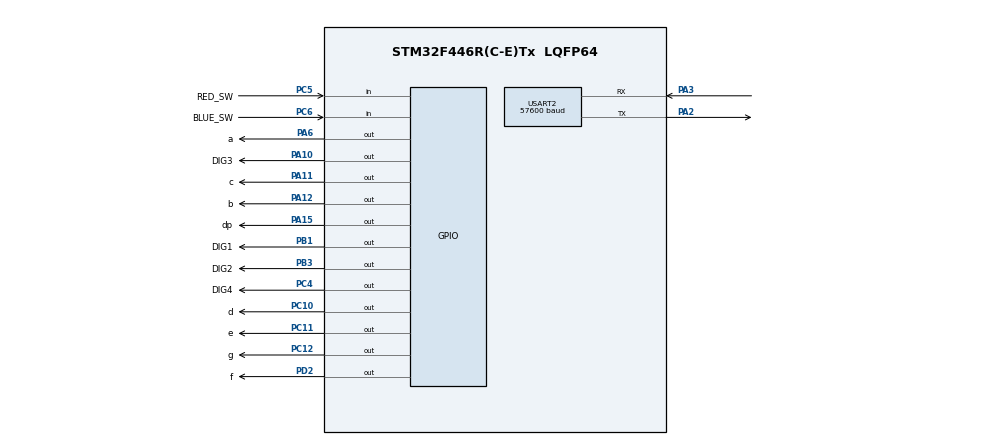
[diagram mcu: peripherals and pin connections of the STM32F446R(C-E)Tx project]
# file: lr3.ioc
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Mcu.Family=STM32F4
RCC.CortexFreq_Value=16000000
PC10.GPIO_Label=d
PC10.Signal=GPIO_Output
PC11.Signal=GPIO_Output
PC12.Signal=GPIO_Output
PC4.Signal=GPIO_Output
PC6.Signal=GPIO_Input
PC6.GPIO_Label=BLUE_SW
PA11.GPIO_Label=c
PA6.GPIO_Label=a
NVIC.USART2_IRQn=true\:0\:0\:false\:false\:true\:true\:true
USART2.BaudRate=57600
PA12.GPIO_Label=b
ProjectManager.StackSize=0x400
PA3.Mode=Asynchronous
PA15.GPIO_Label=dp
PA12.Signal=GPIO_Output
ProjectManager.TargetToolchain=STM32CubeIDE
RCC.USBFreq_Value=96000000
board=custom
RCC.VCOOutputFreq_Value=192000000
PC4.GPIO_Label=DIG4
PB1.GPIO_Label=DIG1
PC11.GPIO_Label=e
PA10.GPIO_Label=DIG3
Mcu.Name=STM32F446R(C-E)Tx
PA2.Signal=USART2_TX
PB3.Signal=GPIO_Output
Mcu.Package=LQFP64
PA6.Signal=GPIO_Output
PB1.Signal=GPIO_Output
PC5.GPIO_Label=RED_SW
USART2.VirtualMode=VM_ASYNC
PC12.GPIO_Label=g
PA11.Signal=GPIO_Output
PA10.Signal=GPIO_Output
PA15.Signal=GPIO_Output
ProjectManager.HeapSize=0x200
NVIC.PriorityGroup=NVIC_PRIORITYGROUP_4
PA2.Mode=Asynchronous
PC5.Signal=GPIO_Input
PD2.Signal=GPIO_Output
PD2.GPIO_Label=f
PA3.Signal=USART2_RX
PB3.GPIO_Label=DIG2

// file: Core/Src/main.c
/* USER CODE BEGIN Header */
/**
  ******************************************************************************
  * @file           : main.c
  * @brief          : Main program body
  ******************************************************************************
  * @attention
  *
  * <h2><center>&copy; Copyright (c) 2023 STMicroelectronics.
  * All rights reserved.</center></h2>
  *
  * This software component is licensed by ST under BSD 3-Clause license,
  * the "License"; You may not use this file except in compliance with the
  * License. You may obtain a copy of the License at:
  *                        opensource.org/licenses/BSD-3-Clause
  *
  ******************************************************************************
  */
/* USER CODE END Header */
#include "main.h"

UART_HandleTypeDef huart2;

/* USER CODE BEGIN PV */
int count = 0;
uint8_t rx_buff[6];
char trans_string [5];
int ans_from_com=0;
float sin_ans=0;

//static uint8_t *rx_buffer;
//static uint8_t *tx_buffer;
//
//static uint8_t current_number = 0;
//static uint8_t changed_number = 0;
//static const float e = 2.71828;

/* USER CODE END PV */

void SystemClock_Config(void);
static void MX_GPIO_Init(void);
static void MX_USART2_UART_Init(void);
/* USER CODE BEGIN PFP */

void setnumber (int number)
{
	switch (number)
	{
		case 0x2d:
				{
					//HAL_GPIO_WritePin(GPIOA, GPIO_PIN_14, GPIO_PIN_RESET); //dot
					HAL_GPIO_WritePin(GPIOC, GPIO_PIN_12, GPIO_PIN_SET); //A
					HAL_GPIO_WritePin(GPIOB, GPIO_PIN_3, GPIO_PIN_SET); //B
					HAL_GPIO_WritePin(GPIOD, GPIO_PIN_2, GPIO_PIN_SET); //C
					HAL_GPIO_WritePin(GPIOC, GPIO_PIN_11, GPIO_PIN_SET); //D
					HAL_GPIO_WritePin(GPIOA, GPIO_PIN_15, GPIO_PIN_SET); //E
					HAL_GPIO_WritePin(GPIOC, GPIO_PIN_10, GPIO_PIN_SET);	//F
					HAL_GPIO_WritePin(GPIOB, GPIO_PIN_4, GPIO_PIN_RESET);  //G
					break;
				}

		case 0:
			{
				//HAL_GPIO_WritePin(GPIOA, GPIO_PIN_14, GPIO_PIN_RESET); //dot
				HAL_GPIO_WritePin(GPIOA, a_Pin, GPIO_PIN_RESET); //A
				HAL_GPIO_WritePin(GPIOA, b_Pin, GPIO_PIN_RESET); //B
				HAL_GPIO_WritePin(GPIOA, c_Pin, GPIO_PIN_RESET); //C
				HAL_GPIO_WritePin(GPIOC, d_Pin, GPIO_PIN_RESET); //D
				HAL_GPIO_WritePin(GPIOC, e_Pin, GPIO_PIN_RESET); //E
				HAL_GPIO_WritePin(GPIOD, f_Pin, GPIO_PIN_RESET);	//F
				HAL_GPIO_WritePin(GPIOC, g_Pin, GPIO_PIN_SET);  //G
				HAL_GPIO_WritePin(GPIOA, dp_Pin, GPIO_PIN_SET);  //dp

				break;
			}

		case 1:
			{
				HAL_GPIO_WritePin(GPIOA, a_Pin, GPIO_PIN_SET); //A
				HAL_GPIO_WritePin(GPIOA, b_Pin, GPIO_PIN_RESET); //B
				HAL_GPIO_WritePin(GPIOA, c_Pin, GPIO_PIN_RESET); //C
				HAL_GPIO_WritePin(GPIOC, d_Pin, GPIO_PIN_SET); //D
				HAL_GPIO_WritePin(GPIOC, e_Pin, GPIO_PIN_SET); //E
				HAL_GPIO_WritePin(GPIOD, f_Pin, GPIO_PIN_SET);	//F
				HAL_GPIO_WritePin(GPIOC, g_Pin, GPIO_PIN_SET);  //G
				HAL_GPIO_WritePin(GPIOA, dp_Pin, GPIO_PIN_SET);  //dp

				break;
			}

		case 2:
			{
				HAL_GPIO_WritePin(GPIOA, a_Pin, GPIO_PIN_RESET); //A
				HAL_GPIO_WritePin(GPIOA, b_Pin, GPIO_PIN_RESET); //B
				HAL_GPIO_WritePin(GPIOA, c_Pin, GPIO_PIN_SET); //C
				HAL_GPIO_WritePin(GPIOC, d_Pin, GPIO_PIN_RESET); //D
				HAL_GPIO_WritePin(GPIOC, e_Pin, GPIO_PIN_RESET); //E
				HAL_GPIO_WritePin(GPIOD, f_Pin, GPIO_PIN_SET);	//F
				HAL_GPIO_WritePin(GPIOC, g_Pin, GPIO_PIN_RESET);  //G
				HAL_GPIO_WritePin(GPIOA, dp_Pin, GPIO_PIN_SET);  //dp

				break;
			}

		case 3:
			{
				HAL_GPIO_WritePin(GPIOA, a_Pin, GPIO_PIN_RESET); //A
				HAL_GPIO_WritePin(GPIOA, b_Pin, GPIO_PIN_RESET); //B
				HAL_GPIO_WritePin(GPIOA, c_Pin, GPIO_PIN_RESET); //C
				HAL_GPIO_WritePin(GPIOC, d_Pin, GPIO_PIN_RESET); //D
				HAL_GPIO_WritePin(GPIOC, e_Pin, GPIO_PIN_SET); //E
				HAL_GPIO_WritePin(GPIOD, f_Pin, GPIO_PIN_SET);	//F
				HAL_GPIO_WritePin(GPIOC, g_Pin, GPIO_PIN_RESET);  //G

				HAL_GPIO_WritePin(GPIOA, dp_Pin, GPIO_PIN_SET);  //dp

				break;
			}

		case 4:
			{
				HAL_GPIO_WritePin(GPIOA, a_Pin, GPIO_PIN_SET); //A
				HAL_GPIO_WritePin(GPIOA, b_Pin, GPIO_PIN_RESET); //B
				HAL_GPIO_WritePin(GPIOA, c_Pin, GPIO_PIN_RESET); //C
				HAL_GPIO_WritePin(GPIOC, d_Pin, GPIO_PIN_SET); //D
				HAL_GPIO_WritePin(GPIOC, e_Pin, GPIO_PIN_SET); //E
				HAL_GPIO_WritePin(GPIOD, f_Pin, GPIO_PIN_RESET);	//F
				HAL_GPIO_WritePin(GPIOC, g_Pin, GPIO_PIN_RESET);  //G
				HAL_GPIO_WritePin(GPIOA, dp_Pin, GPIO_PIN_SET);  //dp

				break;
			}

		case 5:
			{
				HAL_GPIO_WritePin(GPIOA, a_Pin, GPIO_PIN_RESET); //A
				HAL_GPIO_WritePin(GPIOA, b_Pin, GPIO_PIN_SET); //B
				HAL_GPIO_WritePin(GPIOA, c_Pin, GPIO_PIN_RESET); //C
				HAL_GPIO_WritePin(GPIOC, d_Pin, GPIO_PIN_RESET); //D
				HAL_GPIO_WritePin(GPIOC, e_Pin, GPIO_PIN_SET); //E
				HAL_GPIO_WritePin(GPIOD, f_Pin, GPIO_PIN_RESET);	//F
				HAL_GPIO_WritePin(GPIOC, g_Pin, GPIO_PIN_RESET);  //G
				HAL_GPIO_WritePin(GPIOA, dp_Pin, GPIO_PIN_SET);  //dp

				break;
			}

		case 6:
			{
				HAL_GPIO_WritePin(GPIOA, a_Pin, GPIO_PIN_RESET); //A
				HAL_GPIO_WritePin(GPIOA, b_Pin, GPIO_PIN_SET); //B
				HAL_GPIO_WritePin(GPIOA, c_Pin, GPIO_PIN_RESET); //C
				HAL_GPIO_WritePin(GPIOC, d_Pin, GPIO_PIN_RESET); //D
				HAL_GPIO_WritePin(GPIOC, e_Pin, GPIO_PIN_RESET); //E
				HAL_GPIO_WritePin(GPIOD, f_Pin, GPIO_PIN_RESET);	//F
				HAL_GPIO_WritePin(GPIOC, g_Pin, GPIO_PIN_RESET);  //G
				HAL_GPIO_WritePin(GPIOA, dp_Pin, GPIO_PIN_SET);  //dp

				break;
			}

		case 7:
			{
				HAL_GPIO_WritePin(GPIOA, a_Pin, GPIO_PIN_RESET); //A
				HAL_GPIO_WritePin(GPIOA, b_Pin, GPIO_PIN_RESET); //B
				HAL_GPIO_WritePin(GPIOA, c_Pin, GPIO_PIN_RESET); //C
				HAL_GPIO_WritePin(GPIOC, d_Pin, GPIO_PIN_SET); //D
				HAL_GPIO_WritePin(GPIOC, e_Pin, GPIO_PIN_SET); //E
				HAL_GPIO_WritePin(GPIOD, f_Pin, GPIO_PIN_SET);	//F
				HAL_GPIO_WritePin(GPIOC, g_Pin, GPIO_PIN_SET);  //G
				HAL_GPIO_WritePin(GPIOA, dp_Pin, GPIO_PIN_SET);  //dp

				break;
			}

		case 8:
			{
				HAL_GPIO_WritePin(GPIOA, a_Pin, GPIO_PIN_RESET); //A
				HAL_GPIO_WritePin(GPIOA, b_Pin, GPIO_PIN_RESET); //B
				HAL_GPIO_WritePin(GPIOA, c_Pin, GPIO_PIN_RESET); //C
				HAL_GPIO_WritePin(GPIOC, d_Pin, GPIO_PIN_RESET); //D
				HAL_GPIO_WritePin(GPIOC, e_Pin, GPIO_PIN_RESET); //E
				HAL_GPIO_WritePin(GPIOD, f_Pin, GPIO_PIN_RESET);	//F
				HAL_GPIO_WritePin(GPIOC, g_Pin, GPIO_PIN_RESET);  //G
				HAL_GPIO_WritePin(GPIOA, dp_Pin, GPIO_PIN_SET);  //dp

				break;
			}

		case 9:
			{
				HAL_GPIO_WritePin(GPIOA, a_Pin, GPIO_PIN_RESET); //A
				HAL_GPIO_WritePin(GPIOA, b_Pin, GPIO_PIN_RESET); //B
				HAL_GPIO_WritePin(GPIOA, c_Pin, GPIO_PIN_RESET); //C
				HAL_GPIO_WritePin(GPIOC, d_Pin, GPIO_PIN_RESET); //D
				HAL_GPIO_WritePin(GPIOC, e_Pin, GPIO_PIN_SET); //E
				HAL_GPIO_WritePin(GPIOD, f_Pin, GPIO_PIN_RESET);	//F
				HAL_GPIO_WritePin(GPIOC, g_Pin, GPIO_PIN_RESET);  //G
				HAL_GPIO_WritePin(GPIOA, dp_Pin, GPIO_PIN_SET);  //dp

				break;
			}
	}
}

void show_4dig_number(uint8_t count){

		HAL_GPIO_WritePin(GPIOB, DIG1_Pin, GPIO_PIN_SET);  //dp
		HAL_GPIO_WritePin(GPIOB, DIG2_Pin, GPIO_PIN_SET);  //dp
		HAL_GPIO_WritePin(GPIOA, DIG3_Pin, GPIO_PIN_SET);  //dp
		HAL_GPIO_WritePin(GPIOC, DIG4_Pin, GPIO_PIN_RESET);  //dp
		setnumber(count%10);
		HAL_Delay(1);

		HAL_GPIO_WritePin(GPIOB, DIG1_Pin, GPIO_PIN_SET);  //dp
		HAL_GPIO_WritePin(GPIOB, DIG2_Pin, GPIO_PIN_SET);  //dp
		HAL_GPIO_WritePin(GPIOA, DIG3_Pin, GPIO_PIN_RESET);  //dp
		HAL_GPIO_WritePin(GPIOC, DIG4_Pin, GPIO_PIN_SET);  //dp
		setnumber(count/10%10);
		HAL_Delay(1);

		HAL_GPIO_WritePin(GPIOB, DIG1_Pin, GPIO_PIN_SET);  //dp
		HAL_GPIO_WritePin(GPIOB, DIG2_Pin, GPIO_PIN_RESET);  //dp
		HAL_GPIO_WritePin(GPIOA, DIG3_Pin, GPIO_PIN_SET);  //dp
		HAL_GPIO_WritePin(GPIOC, DIG4_Pin, GPIO_PIN_SET);  //dp
		setnumber(count/100%10);
		HAL_Delay(1);

		HAL_GPIO_WritePin(GPIOB, DIG1_Pin, GPIO_PIN_RESET);  //dp
		HAL_GPIO_WritePin(GPIOB, DIG2_Pin, GPIO_PIN_SET);  //dp
		HAL_GPIO_WritePin(GPIOA, DIG3_Pin, GPIO_PIN_SET);  //dp
		HAL_GPIO_WritePin(GPIOC, DIG4_Pin, GPIO_PIN_SET);  //dp
		setnumber(count/1000%10);
		HAL_Delay(1);

}

/* USER CODE END PFP */

int main(void)
{
  /* USER CODE BEGIN 1 */
//	rx_buffer = (uint8_t*) malloc(sizeof(uint8_t)*8);
//	tx_buffer = (uint8_t*) malloc(sizeof(uint8_t)*8);
//	HAL_UART_Receive_IT(&huart2, rx_buffer, 4);
  /* USER CODE END 1 */

  /* MCU Configuration--------------------------------------------------------*/

  /* Reset of all peripherals, Initializes the Flash interface and the Systick. */
  HAL_Init();

  /* Configure the system clock */
  SystemClock_Config();

  /* Initialize all configured peripherals */
  MX_GPIO_Init();
  MX_USART2_UART_Init();

  /* Infinite loop */
  while (1)
  {
//	  show_4dig_number(changed_number);
//    /* USER CODE BEGIN 3 */
//	  free(rx_buffer);
//	  free(tx_buffer);

//	  show_4dig_number(5);

  /* USER CODE END 3 */
}
}

void SystemClock_Config(void)
{
  RCC_OscInitTypeDef RCC_OscInitStruct = {0};
  RCC_ClkInitTypeDef RCC_ClkInitStruct = {0};

  /** Configure the main internal regulator output voltage
  */
  __HAL_RCC_PWR_CLK_ENABLE();
  __HAL_PWR_VOLTAGESCALING_CONFIG(PWR_REGULATOR_VOLTAGE_SCALE3);
  /** Initializes the RCC Oscillators according to the specified parameters
  * in the RCC_OscInitTypeDef structure.
  */
  RCC_OscInitStruct.OscillatorType = RCC_OSCILLATORTYPE_HSI;
  RCC_OscInitStruct.HSIState = RCC_HSI_ON;
  RCC_OscInitStruct.HSICalibrationValue = RCC_HSICALIBRATION_DEFAULT;
  RCC_OscInitStruct.PLL.PLLState = RCC_PLL_NONE;
  if (HAL_RCC_OscConfig(&RCC_OscInitStruct) != HAL_OK)
  {
    Error_Handler();
  }
  /** Initializes the CPU, AHB and APB buses clocks
  */
  RCC_ClkInitStruct.ClockType = RCC_CLOCKTYPE_HCLK|RCC_CLOCKTYPE_SYSCLK
                              |RCC_CLOCKTYPE_PCLK1|RCC_CLOCKTYPE_PCLK2;
  RCC_ClkInitStruct.SYSCLKSource = RCC_SYSCLKSOURCE_HSI;
  RCC_ClkInitStruct.AHBCLKDivider = RCC_SYSCLK_DIV1;
  RCC_ClkInitStruct.APB1CLKDivider = RCC_HCLK_DIV1;
  RCC_ClkInitStruct.APB2CLKDivider = RCC_HCLK_DIV1;

  if (HAL_RCC_ClockConfig(&RCC_ClkInitStruct, FLASH_LATENCY_0) != HAL_OK)
  {
    Error_Handler();
  }
}

static void MX_USART2_UART_Init(void)
{

  huart2.Instance = USART2;
  huart2.Init.BaudRate = 57600;
  huart2.Init.WordLength = UART_WORDLENGTH_8B;
  huart2.Init.StopBits = UART_STOPBITS_1;
  huart2.Init.Parity = UART_PARITY_NONE;
  huart2.Init.Mode = UART_MODE_TX_RX;
  huart2.Init.HwFlowCtl = UART_HWCONTROL_NONE;
  huart2.Init.OverSampling = UART_OVERSAMPLING_16;
  if (HAL_UART_Init(&huart2) != HAL_OK)
  {
    Error_Handler();
  }

}

static void MX_GPIO_Init(void)
{
  GPIO_InitTypeDef GPIO_InitStruct = {0};

  /* GPIO Ports Clock Enable */
  __HAL_RCC_GPIOA_CLK_ENABLE();
  __HAL_RCC_GPIOC_CLK_ENABLE();
  __HAL_RCC_GPIOB_CLK_ENABLE();
  __HAL_RCC_GPIOD_CLK_ENABLE();

  /*Configure GPIO pin Output Level */
  HAL_GPIO_WritePin(GPIOA, a_Pin|DIG3_Pin|c_Pin|b_Pin
                          |dp_Pin, GPIO_PIN_RESET);

  /*Configure GPIO pin Output Level */
  HAL_GPIO_WritePin(GPIOC, DIG4_Pin|d_Pin|e_Pin|g_Pin, GPIO_PIN_RESET);

  /*Configure GPIO pin Output Level */
  HAL_GPIO_WritePin(GPIOB, DIG1_Pin|DIG2_Pin, GPIO_PIN_RESET);

  /*Configure GPIO pin Output Level */
  HAL_GPIO_WritePin(f_GPIO_Port, f_Pin, GPIO_PIN_RESET);

  /*Configure GPIO pins : a_Pin DIG3_Pin c_Pin b_Pin
                           dp_Pin */
  GPIO_InitStruct.Pin = a_Pin|DIG3_Pin|c_Pin|b_Pin
                          |dp_Pin;
  GPIO_InitStruct.Mode = GPIO_MODE_OUTPUT_PP;
  GPIO_InitStruct.Pull = GPIO_NOPULL;
  GPIO_InitStruct.Speed = GPIO_SPEED_FREQ_LOW;
  HAL_GPIO_Init(GPIOA, &GPIO_InitStruct);

  /*Configure GPIO pins : DIG4_Pin d_Pin e_Pin g_Pin */
  GPIO_InitStruct.Pin = DIG4_Pin|d_Pin|e_Pin|g_Pin;
  GPIO_InitStruct.Mode = GPIO_MODE_OUTPUT_PP;
  GPIO_InitStruct.Pull = GPIO_NOPULL;
  GPIO_InitStruct.Speed = GPIO_SPEED_FREQ_LOW;
  HAL_GPIO_Init(GPIOC, &GPIO_InitStruct);

  /*Configure GPIO pins : RED_SW_Pin BLUE_SW_Pin */
  GPIO_InitStruct.Pin = RED_SW_Pin|BLUE_SW_Pin;
  GPIO_InitStruct.Mode = GPIO_MODE_INPUT;
  GPIO_InitStruct.Pull = GPIO_NOPULL;
  HAL_GPIO_Init(GPIOC, &GPIO_InitStruct);

  /*Configure GPIO pins : DIG1_Pin DIG2_Pin */
  GPIO_InitStruct.Pin = DIG1_Pin|DIG2_Pin;
  GPIO_InitStruct.Mode = GPIO_MODE_OUTPUT_PP;
  GPIO_InitStruct.Pull = GPIO_NOPULL;
  GPIO_InitStruct.Speed = GPIO_SPEED_FREQ_LOW;
  HAL_GPIO_Init(GPIOB, &GPIO_InitStruct);

  /*Configure GPIO pin : f_Pin */
  GPIO_InitStruct.Pin = f_Pin;
  GPIO_InitStruct.Mode = GPIO_MODE_OUTPUT_PP;
  GPIO_InitStruct.Pull = GPIO_NOPULL;
  GPIO_InitStruct.Speed = GPIO_SPEED_FREQ_LOW;
  HAL_GPIO_Init(f_GPIO_Port, &GPIO_InitStruct);

}

/* USER CODE BEGIN 4 */

void HAL_UART_RxCpltCallback(UART_HandleTypeDef *huart){
//	rx_buff[6]='\0';
//	ans_from_com=atoi(&rx_buff[1]);
//	sin_ans=sin(ans_from_com);
//
////	char *tmpSign = (sin_ans < 0) ? "-" : "";
////	float tmpVal = (sin_ans < 0) ? -sin_ans : sin_ans;
//
//	int tmpInt1 = tmpVal;                  // Get the integer (678).
//	float tmpFrac = tmpVal - tmpInt1;      // Get fraction (0.0123).
//	int tmpInt2 = trunc(tmpFrac * 10000);  // Turn into integer (123).
//	sprintf (trans_string, "%s%d.%04d\r\n", tmpSign, tmpInt1, tmpInt2);
//	//sprintf(trans_string, "%d ",sin_ans);
//	HAL_UART_Transmit_IT(&huart2, (uint8_t*) trans_string, sizeof(trans_string));
//////	show_4dig_number((int)trans_string);
////	//HAL_Delay(1);
//	HAL_UART_Receive_IT(&huart2,rx_buff,sizeof(rx_buff));

	HAL_UART_Transmit_IT(&huart2, (uint8_t*) trans_string, sizeof(trans_string));
			//HAL_Delay(1);
			HAL_UART_Receive_IT(&huart2,rx_buff,sizeof(rx_buff));

//	if (huart->Instance == huart2.Instance)
//	  {
//	    for (int i=1; i<3; i++){
//	      char sym = rx_buffer[i];
//	      current_number += sym;//) * pow(10, i%2);
//	    }
//	    changed_number = pow(e, current_number);
//	    sprintf(tx_buffer, "\r%d\n", changed_number);
//	    HAL_UART_Transmit_IT(&huart2, tx_buffer, 4);
//	    current_number = 0;

	//    HAL_UART_Transmit(&huart2,&rx_buffer,sizeof(rx_buffer), 100);
	//    HAL_UART_Receive_IT(&huart2, &rx_buffer, 1);
}

/* USER CODE END 4 */

void Error_Handler(void)
{
  __disable_irq();
  while (1)
  {
  }
}

/************************ (C) COPYRIGHT STMicroelectronics *****END OF FILE****/
